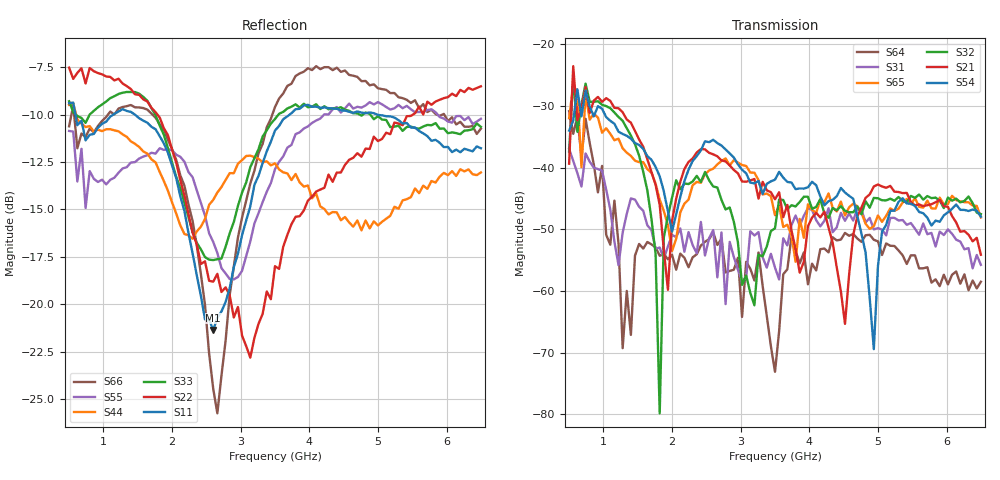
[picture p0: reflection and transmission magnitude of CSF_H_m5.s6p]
!Keysight Technologies,M9804A,MY58100912,A.14.10.03
!Date: Thursday, April 27, 2023 10:28:33
!Correction: S11(C  6-Port  )
!S12(C  6-Port  )
!S13(C  6-Port  )
!S14(C  6-Port  )
!S15(C  6-Port  )
!S16(C  6-Port  )
!S21(C  6-Port  )
!S22(C  6-Port  )
!S23(C  6-Port  )
!S24(C  6-Port  )
!S25(C  6-Port  )
!S26(C  6-Port  )
!S31(C  6-Port  )
!S32(C  6-Port  )
!S33(C  6-Port  )
!S34(C  6-Port  )
!S35(C  6-Port  )
!S36(C  6-Port  )
!S41(C  6-Port  )
!S42(C  6-Port  )
!S43(C  6-Port  )
!S44(C  6-Port  )
!S45(C  6-Port  )
!S46(C  6-Port  )
!S51(C  6-Port  )
!S52(C  6-Port  )
!S53(C  6-Port  )
!S54(C  6-Port  )
!S55(C  6-Port  )
!S56(C  6-Port  )
!S61(C  6-Port  )
!S62(C  6-Port  )
!S63(C  6-Port  )
!S64(C  6-Port  )
!S65(C  6-Port  )
!S66(C  6-Port  )
!S6P File: Measurement: :
# Hz S  RI  R 50
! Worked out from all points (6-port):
!   101 points, 500 MHz to 6.5 GHz, reference 50 ohm
!   strongest paths, dB at 500 MHz, 2 GHz, 3.5 GHz, 5 GHz, 6.5 GHz:
!     S54: -34.0, -50.3, -41.9, -56.0, -47.9
!     S21: -39.3, -48.6, -45.1, -42.7, -54.1
!     S32: -37.3, -44.8, -49.8, -45.0, -47.5
!     S65: -32.0, -53.5, -47.7, -47.7, -48.1
!     S31: -36.9, -50.9, -56.2, -49.8, -55.7
!     S64: -30.8, -54.1, -73.1, -51.9, -58.5
!   lowest |S11| = -21.4 dB at 2.6 GHz (marker M1), VSWR 1.19, Z = 42.4 + j2.31 ohm
!   |S11| at or under -10 dB: 592 MHz to 1.142 GHz (549.9 MHz wide, 63.4 % of centre); 1.458 GHz to 3.713 GHz (2.254 GHz wide, 87.2 % of centre); 4.991 GHz to end of sweep
